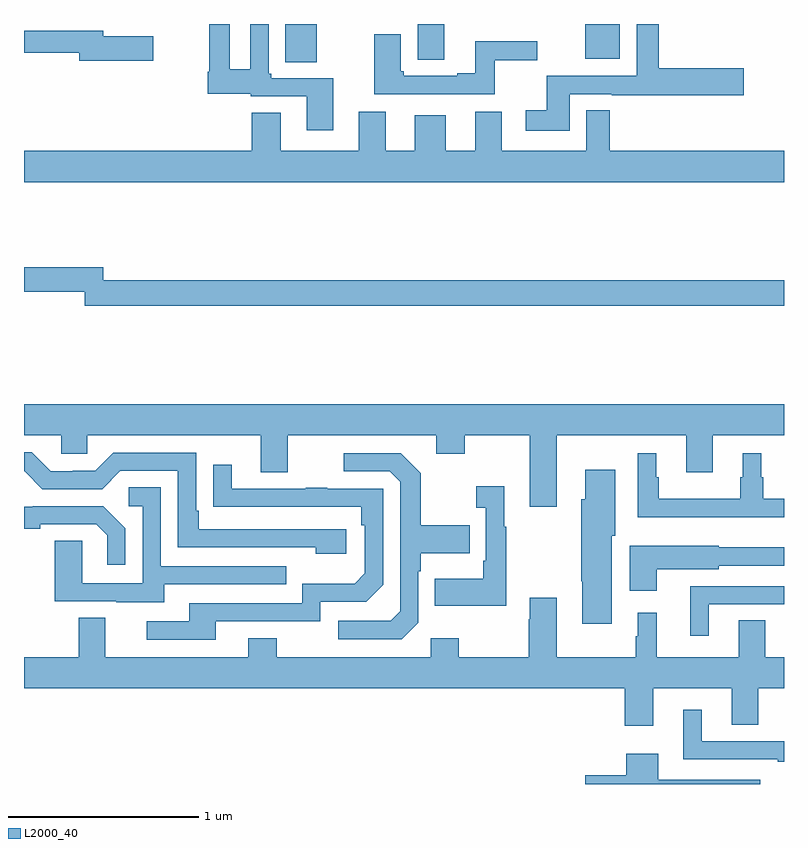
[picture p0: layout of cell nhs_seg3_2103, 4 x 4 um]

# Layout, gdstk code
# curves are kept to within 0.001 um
import gdstk
lib = gdstk.Library(unit=1e-6, precision=1e-09)
def R(c, l, rs):  # rectangles x0, y0, x1, y1
    for r in rs: c.add(gdstk.rectangle(r[:2], r[2:], *l))
def P(c, l, *ps):  # polygons
    for p in ps: c.add(gdstk.Polygon(p, *l))
L2000_40 = (2000, 40)

nhs_seg3_2103 = lib.new_cell('nhs_seg3_2103')
R(nhs_seg3_2103, L2000_40, [(220.376,716.2,220.54,716.4), (221.072,716.212,221.212,716.4), (221.954,716.216,222.136,716.4)])
P(nhs_seg3_2103, L2000_40, [(220.627,716.115),(220.302,716.115),(220.302,716.139),(220.287,716.139),(220.287,716.4),(220.191,716.4),(220.191,716.162),(220.083,716.162),(220.083,716.4),(219.975,716.4),(219.975,716.149),(219.967,716.149),(219.967,716.034),(220.194,716.034),(220.194,716.019),(220.487,716.019),(220.487,715.842),(220.627,715.842)],
  [(221.872,716.031),(222.093,716.031),(222.093,716.026),(222.787,716.026),(222.787,716.168),(222.341,716.168),(222.341,716.4),(222.225,716.4),(222.225,716.127),(221.75,716.127),(221.75,715.945),(221.64,715.945),(221.64,715.838),(221.872,715.838)],
  [(219.679,716.335),(219.418,716.335),(219.418,716.364),(219,716.364),(219,716.248),(219.29,716.248),(219.29,716.206),(219.679,716.206)],
  [(221.477,716.209),(221.701,716.209),(221.701,716.31),(221.375,716.31),(221.375,716.14),(221.279,716.14),(221.279,716.127),(220.998,716.127),(220.998,716.151),(220.984,716.151),(220.984,716.345),(220.844,716.345),(220.844,716.031),(221.477,716.031)],
  [(223,715.732),(222.082,715.732),(222.082,715.946),(221.96,715.946),(221.96,715.732),(221.515,715.732),(221.515,715.939),(221.375,715.939),(221.375,715.732),(221.221,715.732),(221.221,715.921),(221.057,715.921),(221.057,715.732),(220.903,715.732),(220.903,715.939),(220.763,715.939),(220.763,715.732),(220.351,715.732),(220.351,715.934),(220.199,715.934),(220.199,715.732),(219,715.732),(219,715.568),(223,715.568)],
  [(223,715.052),(219.417,715.052),(219.417,715.12),(219,715.12),(219,714.991),(219.321,714.991),(219.321,714.916),(223,714.916)],
  [(221.803,714.236),(222.485,714.236),(222.485,714.042),(222.625,714.042),(222.625,714.236),(223,714.236),(223,714.4),(219,714.4),(219,714.236),(219.195,714.236),(219.195,714.138),(219.333,714.138),(219.333,714.236),(220.247,714.236),(220.247,714.042),(220.387,714.042),(220.387,714.236),(221.171,714.236),(221.171,714.137),(221.319,714.137),(221.319,714.236),(221.663,714.236),(221.663,713.859),(221.803,713.859)],
  [(220.696,713.742),(219.919,713.742),(219.919,713.839),(219.906,713.839),(219.906,714.144),(219.471,714.144),(219.375,714.048),(219.257,714.048),(219.257,714.045),(219.141,714.045),(219.041,714.145),(219,714.145),(219,714.045),(219.003,714.045),(219.096,713.952),(219.411,713.952),(219.507,714.048),(219.81,714.048),(219.81,713.646),(220.535,713.646),(220.535,713.612),(220.696,713.612)],
  [(223,713.902),(222.892,713.902),(222.892,714.014),(222.88,714.014),(222.88,714.142),(222.782,714.142),(222.782,714.014),(222.771,714.014),(222.771,713.902),(222.34,713.902),(222.34,714.014),(222.328,714.014),(222.328,714.142),(222.231,714.142),(222.231,713.804),(223,713.804)],
  [(221.076,713.25),(221.076,713.519),(221.089,713.519),(221.089,713.615),(221.345,713.615),(221.345,713.763),(221.089,713.763),(221.089,714.035),(220.983,714.141),(220.683,714.141),(220.683,714.045),(220.926,714.045),(220.98,713.991),(220.98,713.31),(220.929,713.259),(220.653,713.259),(220.653,713.163),(220.989,713.163)],
  [(220.009,713.256),(220.56,713.256),(220.56,713.358),(220.8,713.358),(220.89,713.448),(220.89,713.955),(220.595,713.955),(220.595,713.96),(220.483,713.96),(220.483,713.955),(220.093,713.955),(220.093,714.079),(219.997,714.079),(219.997,713.86),(220.774,713.859),(220.774,713.762),(220.794,713.762),(220.794,713.508),(220.741,713.455),(220.464,713.455),(220.464,713.352),(219.869,713.352),(219.869,713.256),(219.645,713.256),(219.645,713.16),(220.009,713.16)],
  [(222.094,713.706),(222.112,713.706),(222.112,714.055),(221.954,714.055),(221.954,713.898),(221.932,713.898),(221.932,713.467),(221.939,713.467),(221.939,713.244),(222.094,713.244)],
  [(221.539,713.755),(221.527,713.755),(221.527,713.968),(221.379,713.968),(221.379,713.855),(221.43,713.855),(221.43,713.575),(221.418,713.575),(221.418,713.479),(221.161,713.479),(221.161,713.339),(221.539,713.339)],
  [(219.739,713.451),(220.379,713.451),(220.379,713.547),(219.72,713.547),(219.72,713.963),(219.552,713.963),(219.552,713.862),(219.624,713.862),(219.624,713.457),(219.306,713.457),(219.306,713.681),(219.161,713.681),(219.161,713.361),(219.485,713.361),(219.485,713.357),(219.739,713.357)],
  [(219.534,713.746),(219.418,713.862),(219.046,713.862),(219.046,713.859),(219,713.859),(219,713.744),(219.085,713.744),(219.085,713.766),(219.38,713.766),(219.437,713.709),(219.437,713.553),(219.534,713.553)],
  [(222.331,713.531),(222.657,713.531),(222.657,713.55),(223,713.55),(223,713.647),(222.657,713.647),(222.657,713.653),(222.188,713.653),(222.188,713.418),(222.331,713.418)],
  [(222.604,713.346),(223,713.346),(223,713.442),(222.506,713.442),(222.506,713.181),(222.604,713.181)],
  [(222.161,712.707),(222.313,712.707),(222.313,712.904),(222.725,712.904),(222.725,712.711),(222.865,712.711),(222.865,712.904),(223,712.904),(223,713.068),(222.901,713.068),(222.901,713.261),(222.761,713.261),(222.761,713.068),(222.329,713.068),(222.329,713.302),(222.23,713.302),(222.23,713.177),(222.219,713.177),(222.219,713.068),(221.803,713.068),(221.803,713.38),(221.663,713.38),(221.663,713.267),(221.656,713.267),(221.656,713.068),(221.289,713.068),(221.289,713.167),(221.142,713.167),(221.142,713.068),(220.329,713.068),(220.329,713.167),(220.181,713.167),(220.181,713.068),(219.427,713.068),(219.427,713.276),(219.287,713.276),(219.287,713.068),(219,713.068),(219,712.904),(222.161,712.904)],
  [(223,712.626),(222.568,712.626),(222.568,712.792),(222.47,712.792),(222.47,712.53),(222.968,712.53),(222.968,712.518),(223,712.518)],
  [(222.874,712.423),(222.337,712.423),(222.337,712.558),(222.17,712.558),(222.17,712.446),(221.954,712.446),(221.954,712.4),(222.874,712.4)])

lib.write_gds('nhs_seg3_2103.gds')
